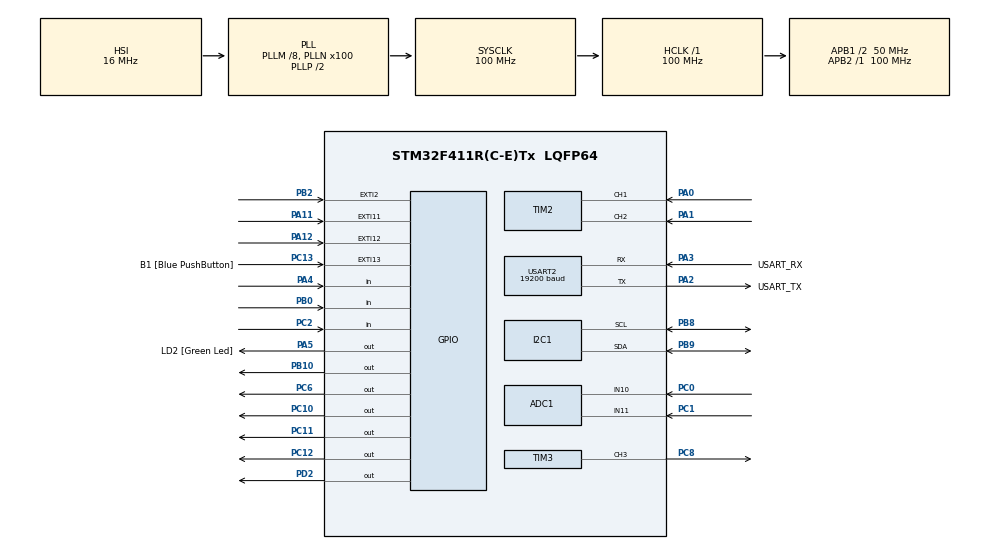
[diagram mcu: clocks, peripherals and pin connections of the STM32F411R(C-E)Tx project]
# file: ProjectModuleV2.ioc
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ADC1.Channel-0\#ChannelRegularConversion=ADC_CHANNEL_10
ADC1.Channel-1\#ChannelRegularConversion=ADC_CHANNEL_11
ADC1.ContinuousConvMode=ENABLE
ADC1.DMAContinuousRequests=ENABLE
ADC1.NbrOfConversion=2
ADC1.NbrOfConversionFlag=1
ADC1.Rank-0\#ChannelRegularConversion=1
ADC1.Rank-1\#ChannelRegularConversion=2
ADC1.SamplingTime-0\#ChannelRegularConversion=ADC_SAMPLETIME_144CYCLES
ADC1.SamplingTime-1\#ChannelRegularConversion=ADC_SAMPLETIME_144CYCLES
ADC1.ScanConvMode=ENABLE
ADC1.master=1
Dma.ADC1.1.Direction=DMA_PERIPH_TO_MEMORY
Dma.ADC1.1.FIFOMode=DMA_FIFOMODE_DISABLE
Dma.ADC1.1.Instance=DMA2_Stream0
Dma.ADC1.1.MemDataAlignment=DMA_MDATAALIGN_WORD
Dma.ADC1.1.MemInc=DMA_MINC_ENABLE
Dma.ADC1.1.Mode=DMA_CIRCULAR
Dma.ADC1.1.PeriphDataAlignment=DMA_PDATAALIGN_WORD
Dma.ADC1.1.PeriphInc=DMA_PINC_DISABLE
Dma.ADC1.1.Priority=DMA_PRIORITY_LOW
Dma.Request0=USART2_TX
Dma.Request1=ADC1
Dma.USART2_TX.0.Direction=DMA_MEMORY_TO_PERIPH
Dma.USART2_TX.0.FIFOMode=DMA_FIFOMODE_DISABLE
Dma.USART2_TX.0.Instance=DMA1_Stream6
Dma.USART2_TX.0.MemDataAlignment=DMA_MDATAALIGN_BYTE
Dma.USART2_TX.0.MemInc=DMA_MINC_ENABLE
Dma.USART2_TX.0.Mode=DMA_NORMAL
Dma.USART2_TX.0.PeriphDataAlignment=DMA_PDATAALIGN_BYTE
Dma.USART2_TX.0.PeriphInc=DMA_PINC_DISABLE
Dma.USART2_TX.0.Priority=DMA_PRIORITY_LOW
I2C1.I2C_Mode=I2C_Standard
Mcu.Family=STM32F4
Mcu.Name=STM32F411R(C-E)Tx
Mcu.Package=LQFP64
NVIC.DMA1_Stream6_IRQn=true\:0\:0\:false\:false\:true\:false\:true\:true
NVIC.DMA2_Stream0_IRQn=true\:0\:0\:false\:false\:true\:false\:true\:true
NVIC.EXTI15_10_IRQn=true\:0\:0\:false\:false\:true\:true\:true\:true
NVIC.EXTI2_IRQn=true\:0\:0\:false\:false\:true\:true\:true\:true
NVIC.I2C1_ER_IRQn=true\:0\:0\:false\:false\:true\:true\:true\:true
NVIC.I2C1_EV_IRQn=true\:0\:0\:false\:false\:true\:true\:true\:true
NVIC.PriorityGroup=NVIC_PRIORITYGROUP_0
NVIC.TIM1_TRG_COM_TIM11_IRQn=true\:0\:0\:false\:false\:true\:true\:true\:true
NVIC.TIM2_IRQn=true\:0\:0\:false\:false\:true\:true\:true\:true
NVIC.TIM3_IRQn=true\:0\:0\:false\:false\:true\:true\:true\:true
NVIC.TIM4_IRQn=true\:0\:1\:false\:false\:true\:true\:true\:true
NVIC.USART2_IRQn=true\:0\:0\:false\:false\:true\:true\:true\:true
PA0-WKUP.Signal=S_TIM2_CH1_ETR
PA1.Signal=S_TIM2_CH2
PA11.Signal=GPXTI11
PA12.Signal=GPXTI12
PA13.GPIO_Label=TMS
PA13.Mode=Serial_Wire
PA13.Signal=SYS_JTMS-SWDIO
PA14.GPIO_Label=TCK
PA14.Mode=Serial_Wire
PA14.Signal=SYS_JTCK-SWCLK
PA2.GPIO_Label=USART_TX
PA2.Mode=Asynchronous
PA2.Signal=USART2_TX
PA3.GPIO_Label=USART_RX
PA3.Mode=Asynchronous
PA3.Signal=USART2_RX
PA4.Signal=GPIO_Input
PA5.GPIO_Label=LD2 [Green Led]
PA5.Signal=GPIO_Output
PB0.Signal=GPIO_Input
PB10.Signal=GPIO_Output
PB2.GPIO_ModeDefaultEXTI=GPIO_MODE_IT_RISING_FALLING
PB2.Signal=GPXTI2
PB3.GPIO_Label=SWO
PB3.Signal=SYS_JTDO-SWO
PB8.Mode=I2C
PB8.Signal=I2C1_SCL
PB9.Mode=I2C
PB9.Signal=I2C1_SDA
PC0.Signal=ADCx_IN10
PC1.Signal=ADCx_IN11
PC10.Signal=GPIO_Output
PC11.Signal=GPIO_Output
PC12.Signal=GPIO_Output
PC13-ANTI_TAMP.GPIO_Label=B1 [Blue PushButton]
PC13-ANTI_TAMP.GPIO_ModeDefaultEXTI=GPIO_MODE_IT_FALLING
PC13-ANTI_TAMP.Signal=GPXTI13
PC14-OSC32_IN.Mode=LSE-External-Oscillator
PC14-OSC32_IN.Signal=RCC_OSC32_IN
PC15-OSC32_OUT.Mode=LSE-External-Oscillator
PC15-OSC32_OUT.Signal=RCC_OSC32_OUT
PC2.Signal=GPIO_Input
PC6.Signal=GPIO_Output
PC8.Signal=S_TIM3_CH3
PD2.Signal=GPIO_Output
PH0\ -\ OSC_IN.Mode=HSE-External-Clock-Source
PH0\ -\ OSC_IN.Signal=RCC_OSC_IN
PH1\ -\ OSC_OUT.Mode=HSE-External-Clock-Source
PH1\ -\ OSC_OUT.Signal=RCC_OSC_OUT
ProjectManager.HeapSize=0x200
ProjectManager.StackSize=0x400
ProjectManager.TargetToolchain=STM32CubeIDE
RCC.48MHZClocksFreq_Value=50000000
RCC.AHBFreq_Value=100000000
RCC.APB1CLKDivider=RCC_HCLK_DIV2
RCC.APB1Freq_Value=50000000
RCC.APB1TimFreq_Value=100000000
RCC.APB2Freq_Value=100000000
RCC.APB2TimFreq_Value=100000000
RCC.CortexFreq_Value=100000000
RCC.FLatency-AdvancedSettings=FLASH_LATENCY_3
RCC.HCLKFreq_Value=100000000
RCC.HSE_VALUE=8000000
RCC.HSI_VALUE=16000000
RCC.PLLM=8
RCC.PLLN=100
RCC.SYSCLKFreq_VALUE=100000000
RCC.SYSCLKSource=RCC_SYSCLKSOURCE_PLLCLK
RCC.VCOOutputFreq_Value=200000000
SH.ADCx_IN10.0=ADC1_IN10,IN10
SH.ADCx_IN11.0=ADC1_IN11,IN11
SH.S_TIM2_CH1_ETR.0=TIM2_CH1,Encoder_Interface
SH.S_TIM2_CH2.0=TIM2_CH2,Encoder_Interface
SH.S_TIM3_CH3.0=TIM3_CH3,PWM Generation3 CH3
TIM11.Channel=TIM_CHANNEL_1
TIM11.OCMode_1=TIM_OCMODE_ACTIVE
TIM11.Period=2005
TIM11.Prescaler=99
TIM11.Pulse=1433
TIM2.EncoderMode=TIM_ENCODERMODE_TI12
TIM3.Channel-PWM\ Generation3\ CH3=TIM_CHANNEL_3
TIM3.Period=49999
TIM4.Period=399
TIM4.Prescaler=99
TIM5.Prescaler=83
USART2.BaudRate=19200
USART2.Parity=PARITY_EVEN
USART2.VirtualMode=VM_ASYNC
USART2.WordLength=WORDLENGTH_9B
VP_TIM11_VS_ClockSourceINT.Mode=Enable_Timer
VP_TIM11_VS_OPM.Mode=OPM_bit
VP_TIM11_VS_no_output1.Mode=Output Compare1 No Output
VP_TIM3_VS_ClockSourceINT.Mode=Internal
VP_TIM4_VS_ClockSourceINT.Mode=Internal
VP_TIM5_VS_ClockSourceINT.Mode=Internal
board=NUCLEO-F411RE

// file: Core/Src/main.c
/* USER CODE BEGIN Header */
/**
  ******************************************************************************
  * @file           : main.c
  * @brief          : Main program body
  ******************************************************************************
  * @attention
  *
  * Copyright (c) 2023 STMicroelectronics.
  * All rights reserved.
  *
  * This software is licensed under terms that can be found in the LICENSE file
  * in the root directory of this software component.
  * If no LICENSE file comes with this software, it is provided AS-IS.
  *
  ******************************************************************************
  */
/* USER CODE END Header */
#include "main.h"
#include "adc.h"
#include "dma.h"
#include "i2c.h"
#include "tim.h"
#include "usart.h"
#include "gpio.h"

/* USER CODE BEGIN Includes */
#include "arm_math.h"
#include <stdlib.h>
#include "ReadEncoderV2.h"
#include "QuinticTrajectory.h"
#include "PIDController.h"
#include "KalmanFilterV2.h"
#include "TrayLocalization.h"
#include "Storage.h"
#include "JoyStick.h"
#include "ModBusRTU.h"
#include "Endeffector.h"
//#include "Interrupt.h"
/* USER CODE END Includes */

/* USER CODE BEGIN PV */
//Operation
OperationState OpState = Init;
OperationVar OpVar = {0};
//Read Encoder
ReadEncoder ReadEncoderParam;
QEI QEIData;
//Quintic Trajectory
QuinticTraj QuinticVar;
float32_t vmax =  163840;	//pps  80%(1200 rpm)
float32_t  amax = 204800;	//pps^2  1500
//int32_t dummyPickpoints[3] = {6827,7851,8875};
//int32_t dummyPlacepoints[3] = {34133,35157,36181};
//PID
PID PositionLoop;
PID VelocityLoop;
//Kalman Filter
Kalman KF;
float32_t Var_Q = 0.798*0.05;	//Measurment Noise
float32_t Var_R = 0.0798*0.1;	//Process Noise
arm_matrix_instance_f32 mat_A, mat_x_hat, mat_x_hat_minus, mat_B, mat_u,eye;
arm_matrix_instance_f32 mat_P, mat_P_minus, mat_Q, mat_GT, mat_G;
arm_matrix_instance_f32 mat_C, mat_R, mat_S, mat_K;
arm_matrix_instance_f32 mat_temp3x3A,mat_temp3x3B, mat_temp3x1,mat_temp1x3, mat_temp1x1;
float32_t ZEstimateVelocity; //For display
//Tray
Tray PickTray;
Tray PlaceTray;
//ModBus
ModbusHandleTypedef hmodbus;
u16u8_t registerFrame[200];
//JoyStick
JoyState SubState = TrayP1;
int32_t TrayPoint[8];
//EndEff
uint8_t PreState = 0;
uint32_t Delay = 0;

/* USER CODE END PV */

void SystemClock_Config(void);
/* USER CODE BEGIN PFP */
void joyXjog();
void joyYjog();
void CollectPosition();
void EndeffectorCheck();
int16_t Uint2Int(uint16_t underflow);
void PickPlace();
/* USER CODE END PFP */

int main(void)
{

  /* MCU Configuration--------------------------------------------------------*/

  /* Reset of all peripherals, Initializes the Flash interface and the Systick. */
  HAL_Init();

  /* Configure the system clock */
  SystemClock_Config();

  /* Initialize all configured peripherals */
  MX_GPIO_Init();
  MX_DMA_Init();
  MX_USART2_UART_Init();
  MX_TIM2_Init();
  MX_TIM5_Init();
  MX_TIM3_Init();
  MX_I2C1_Init();
  MX_TIM4_Init();
  MX_TIM11_Init();
  MX_ADC1_Init();
  /* USER CODE BEGIN 2 */
  //Setup Initial vaules
  InitKalmanStruct(&KF,Var_Q,Var_R);

  InitReadEncoder(&ReadEncoderParam, 1000);

  QuinticSetup(&QuinticVar, vmax, amax);

  PIDSetup(&PositionLoop, 15, 2.5, 0.00001, 10);
  PIDSetup(&VelocityLoop, 5.0, 0.00000001, 0, 0.00003);

  //Timers Start
  HAL_TIM_Base_Start_IT(&htim4);
  HAL_TIM_Encoder_Start(&htim2, TIM_CHANNEL_1|TIM_CHANNEL_2);  //Start QEI
  HAL_TIM_PWM_Start(&htim3, TIM_CHANNEL_3);//Start PWM
  HAL_TIM_Base_Start_IT(&htim5);

  hmodbus.huart = &huart2;
  hmodbus.htim = &htim11;
  hmodbus.slaveAddress = 0x15;
  hmodbus.RegisterSize = 200;
  Modbus_init(&hmodbus, registerFrame);

  HAL_ADC_Start_DMA(&hadc1, VR, 2); // Start ADC

//	//EndEff
	testState = SoftReset;
	Stamp = 1;
	TestMode();

  /* USER CODE END 2 */
  /* Infinite loop */
  while (1)
  {

    /* USER CODE BEGIN 3 */
	Modbus_Protocal_Worker();
	static uint32_t timestamp =0;
	static uint32_t Modbustimestamp = 0;
	if((KF.x_hat[1] >= 1000) || (KF.x_hat[1] <= -1000))
	{
		HAL_GPIO_WritePin(GPIOC, GPIO_PIN_12, SET);
	}
	else
	{
		HAL_GPIO_WritePin(GPIOC, GPIO_PIN_12, RESET);
	}

	if (HAL_GetTick() >= Modbustimestamp)
	{
	  Modbustimestamp = HAL_GetTick() + 200;
	  registerFrame[0x00].U16 = 0b0101100101100001;
	  //Update y axis position to basesystem
	  registerFrame[0x11].U16 = ((((QEIData.QEIPosition-OpVar.HomePosOffset) * 120) / 8192 ) + 1) * 10;
	  registerFrame[0x12].U16 = (KF.x_hat[1] * 120/8192) * 10;
	  registerFrame[0x13].U16 =	((KF.x_hat[1] - KF.x_hat_minus[1])* 120/8192) * 2500 * 10;
		static uint32_t Tray_Delay = 0; // Tray delay counter
		//Set Pick Tray
		if(registerFrame[0x01].U16 == 1)
		{
			if(registerFrame[0x02].U16 == 1){
					testState = TestOn;
					Stamp = 1;
					TestMode();
		}
		registerFrame[0x10].U16 = 1; //Jog of Pick Tray
		if(TrayPoint[3] != 0) // Y of Right edge have value of Pick tray
		{
			//For use
			TraySetup(&PickTray,TrayPoint[0]/10.0, TrayPoint[1], TrayPoint[2]/10.0, TrayPoint[3]); //Input value to calculate

			//For test
//				TraySetup(&PickTray,700/10.0, 19084, 1128/10.0, 17380);

			TrayLocalization(&PickTray); //Find 9 Holes of Pick Tray
			registerFrame[0x20].U16 = PickTray.ForBaseOriginX; //Upload X Pick
			registerFrame[0x21].U16 = PickTray.ForBaseOriginY; //Upload Y Pick
			registerFrame[0x22].U16 = PickTray.ForBaseOrientation; //Upload Angle Pick
			registerFrame[0x10].U16 = 0; //Finish Command
			registerFrame[0x01].U16 = 0; //Finish Command
		}

			/*OpVar.Tray_SetTo = 1;
			Tray_Delay = HAL_GetTick() + 350; // Add delay
			registerFrame[0x10].U16 = 1; //Jog Pick Set
			//registerFrame[0x10].U16 = 0; //Jog Pick Reset*/
		}
		//Set Place Tray
		if(registerFrame[0x01].U16 == 2)
		{
			registerFrame[0x10].U16 = 2; //Jog of Place Tray
			if(TrayPoint[7] != 0){ // Y of Right edge have value of Place tray
				//For use
				TraySetup(&PlaceTray,TrayPoint[4]/10.0, TrayPoint[5], TrayPoint[6]/10.0, TrayPoint[7]);
				//For test
//				TraySetup(&PlaceTray,-1083/10.0, 31685, -1369/10.0, 29007);
				TrayLocalization(&PlaceTray);
				registerFrame[0x23].U16 = PlaceTray.ForBaseOriginX; //Upload X Place
				registerFrame[0x24].U16 = PlaceTray.ForBaseOriginY; //Upload Y Place
				registerFrame[0x25].U16 = PlaceTray.ForBaseOrientation; //Upload Angle Place
				registerFrame[0x10].U16 = 0; //Finish Command
				registerFrame[0x01].U16 = 0; //Finish Command
				//Reset Tray Point
				SubState = TrayP1;
				OpVar.Tray_SetTo = 0;
				for (uint8_t i = 0; i <= 7; i++)
				{
					TrayPoint[i] = 0;
				}
				//turn off laser
				if(registerFrame[0x02].U16 == 0){
					testState = TestOff;
					Stamp = 1;
					TestMode();
				}
			}
			/*OpVar.Tray_SetTo = 1;
			Tray_Delay = HAL_GetTick() + 350; // Add delay
			registerFrame[0x10].U16 = 2; //Jog Place Set
			//registerFrame[0x10].U16 = 0; //Jog Place Reset*/
		}
		//Delay for Jog
		if (HAL_GetTick() >= Tray_Delay && OpVar.Tray_SetTo != 0){
			Tray_Delay = HAL_GetTick() + 350; // Add delay
			registerFrame[0x10].U16 = 0;
			OpVar.Tray_SetTo = 0;
		}
	}
	if(OpVar.ProxStop == 0)
	{
		switch(OpState)
			{
			case Init:
				OpVar.ControllerEnable = 0;
				OpVar.JoyEnable = 0;
				PositionLoop.IsSteady = 0;
				for (uint8_t i = 0; i <= 7; i++)
				{
					TrayPoint[i] = 0;
				}
				OpVar.SetPointY_Axis = 0;
				HAL_GPIO_WritePin(GPIOC, GPIO_PIN_10, RESET);
				SetHome(&OpVar);
			break;
			case PreHoming:
				__HAL_TIM_SET_COMPARE(&htim3,TIM_CHANNEL_3,0);
				OpVar.ControllerEnable = 1;
				QuinticVar.current_velo = 0;
				OpVar.HomingKey = 0;
				if(HAL_GetTick() >= OpVar.waitTime)
				{
					OpVar.waitTime = 0;
					InitKalmanStruct(&KF,Var_Q,Var_R);
					PIDSetup(&PositionLoop, 15, 2.2, 0.00001, 10);
					PIDSetup(&VelocityLoop, 5.0, 0.00000001, 0, 0.00003);

					QuinticVar.start_pos = __HAL_TIM_GET_COUNTER(&htim2);
					QuinticVar.final_pos = OpVar.MaxWorkspace*0.5 - 5;
					OpVar.HomingKey = 0;	//Turn off Proximety
					OpState = Homing;
				}
				else
				{
					__HAL_TIM_SET_COMPARE(&htim3,TIM_CHANNEL_3,0);
				}
			break;
			case Homing:
					OpVar.ControllerEnable = 1;
					if(PositionLoop.IsSteady == 1)
					{
						OpVar.HomingKey = 0;
						OpState = Buffer;
						OpVar.waitTime = HAL_GetTick() + 1000;
					}
			break;
			case Buffer:
				if(HAL_GetTick() >= OpVar.waitTime)
				{
					if(OpVar.RunTrayMode == 1)
					{
						OpState = PreProcess;
						OpVar.RunTrayMode = 0;
					}
					else if(OpVar.RunTrayMode == 0)
					{
						OpState = Home_Ok;
						registerFrame[0x10].U16 = 0;
						OpVar.ControllerEnable = 0;
					}
				}
				break;
			case Home_Ok:
				HAL_GPIO_WritePin(GPIOD, GPIO_PIN_2, RESET);  // turn off point mode pilot lamp
				HAL_GPIO_WritePin(GPIOC, GPIO_PIN_11, RESET); // turn off tray mode pilot lamp

				if(registerFrame[0x10].U16 == 32){
					registerFrame[0x10].U16 = 0;
				}
				OpVar.ControllerEnable = 0;	//Disable Controller
				OpVar.JoyEnable = 1;
				if(registerFrame[0x44].U16 == 0)
				{
					registerFrame[0x40].U16 = 0b0000;	//ResetState
				}
				if(HAL_GetTick() >= timestamp)
				{
					timestamp = HAL_GetTick() + 10;

					//JoyStick
					HAL_GPIO_WritePin(GPIOC, GPIO_PIN_10, SET);	//Open Joy Pilot lamp

					//set home from UI
					if(registerFrame[0x01].U16 == 4)
					{
						registerFrame[0x10].U16 = 4;
						registerFrame[0x40].U16 = 1; //sethome x axis
						OpState = Init;

						registerFrame[0x01].U16 = 0; //reset state
					}

					//PointMode from UI After press RUN
					if(registerFrame[0x01].U16 == 16)
					{
						registerFrame[0x10].U16 = 32;	//Update Y axis Status(Gopoint)
					   //start run status of x axis
						RunX_Axis(registerFrame[0x30].U16, 2500, 2);
						//(Code here)    //assign goal point y to trajectory y axis and PID
						OpVar.SetPointY_Axis = (Uint2Int(registerFrame[0x31].U16)*8192/(120*10)) + OpVar.HomePosOffset;
						OpVar.BaseMode = 1;
						OpState = PreProcess;
					}

					//TrayMode from UI After press RUN
					if(registerFrame[0x01].U16 == 8)
					{
						testState = GripOn;
						Stamp = 1;
						TestMode();
						OpVar.BaseMode = 0;
						OpState = Init;
						OpVar.RunTrayMode = 1;

					}

					//endeffector
					EndeffectorCheck();
				}
			break;

			case PointMode:

				//OpVar.ControllerEnable = 0;
			break;

			case TrayMode:
				//OpVar.ControllerEnable = 0;
			break;

			case PreProcess:
				OpVar.ControllerEnable = 0;
				HAL_GPIO_WritePin(GPIOC, GPIO_PIN_10, RESET);
				if(OpVar.BaseMode == 0)	//TrayMode
				{
					QuinticVar.final_pos = PickTray.Holes_Y[0];
					RunX_Axis(PickTray.Holes_X[0]*10, 2500, 3);
					OpVar.task = GoPick;	//current task.
					OpVar.holeInd = 0;
					PositionLoop.IsSteady = 0;
					OpState = ControlLoop;
				}
				else if (OpVar.BaseMode == 1)	//PointMode
				{
					HAL_GPIO_WritePin(GPIOD, GPIO_PIN_2, SET);
					QuinticVar.final_pos = OpVar.SetPointY_Axis; //Point from Basesystem
					PositionLoop.IsSteady = 0;
					OpState = ControlLoop;

				}
			break;

			case ControlLoop:
				OpVar.ControllerEnable = 1;
				OpVar.JoyEnable = 0;
				OpVar.HomingKey = 2;
				if(PositionLoop.IsSteady == 1)
				{
					float32_t refX_Axis;
					if(OpVar.BaseMode == 0)
					{
						switch(OpVar.task)
						{
						case GoPick:
							refX_Axis = PickTray.Holes_X[OpVar.holeInd] * 10;
							break;
						case GoPlace:
							refX_Axis = PlaceTray.Holes_X[OpVar.holeInd] * 10;
							break;
						}
					}
					else if (OpVar.BaseMode == 1)
					{
						refX_Axis = Uint2Int(registerFrame[0x30].U16);
					}
					if(abs(Uint2Int(registerFrame[0x44].U16) - refX_Axis) <= 0.1)
					{
						if(OpVar.BaseMode == 0)	//Tray
						{
							PickPlace();
							OpVar.waitTime = HAL_GetTick() + 2000;
							OpState = GripperWaiting;
						}
						else if (OpVar.BaseMode == 1)	//Point
						{
							OpState = Home_Ok;
							registerFrame[0x01].U16 = 0;

						}
					}
				}
			break;

			case GripperWaiting:
				OpVar.ControllerEnable = 1;
				if( HAL_GetTick() >= OpVar.waitTime)
				{
					OpVar.waitTime = 0;
					switch(OpVar.task)
					{
					case GoPick:	//Next point should be PLACE hole
						QuinticVar.final_pos = PlaceTray.Holes_Y[OpVar.holeInd];
						RunX_Axis(PlaceTray.Holes_X[OpVar.holeInd]*10, 2500, 3);
						OpVar.task = GoPlace;
						OpState = ControlLoop;
					break;
					case GoPlace:	//Next point should be PICK hole
						if(OpVar.holeInd >= 8)
						{
							OpState = Init;
							registerFrame[0x40].U16 = 0b0001;	//Home
							OpVar.ControllerEnable = 0;
							OpVar.RunTrayMode = 0;
							registerFrame[0x01].U16 = 0;

						}
						else
						{
							OpVar.holeInd += 1;
							QuinticVar.final_pos = PickTray.Holes_Y[OpVar.holeInd];
							RunX_Axis(PickTray.Holes_X[OpVar.holeInd]*10, 2500, 3);
							OpVar.task = GoPick;
							OpState = ControlLoop;
						}
					break;
					}
				}
			break;

			case WaitingHome:
				OpVar.ControllerEnable = 0;
				OpVar.HomingKey = 1;
				OpState = WaitingHome;
				HAL_GPIO_WritePin(GPIOC, GPIO_PIN_6, 0);
				__HAL_TIM_SET_COMPARE(&htim3,TIM_CHANNEL_3,30*500);
			break;
			case EmergencyStop:
				OpVar.ControllerEnable = 0;
				OpVar.JoyEnable = 0;
				 __HAL_TIM_SET_COMPARE(&htim3,TIM_CHANNEL_3,0);
				 if(OpVar.EmerPress == 0)
				 {
					 testState = EmerExit;
					 Stamp = 1;
					 TestMode();
					 OpState = Init;
				 }
			break;
		}
	}
	  else if (OpVar.ProxStop == 1)
	  {
		  __HAL_TIM_SET_COMPARE(&htim3,TIM_CHANNEL_3,0);
	  }
}

  /* USER CODE END 3 */
}

void SystemClock_Config(void)
{
  RCC_OscInitTypeDef RCC_OscInitStruct = {0};
  RCC_ClkInitTypeDef RCC_ClkInitStruct = {0};

  /** Configure the main internal regulator output voltage
  */
  __HAL_RCC_PWR_CLK_ENABLE();
  __HAL_PWR_VOLTAGESCALING_CONFIG(PWR_REGULATOR_VOLTAGE_SCALE1);

  /** Initializes the RCC Oscillators according to the specified parameters
  * in the RCC_OscInitTypeDef structure.
  */
  RCC_OscInitStruct.OscillatorType = RCC_OSCILLATORTYPE_HSI;
  RCC_OscInitStruct.HSIState = RCC_HSI_ON;
  RCC_OscInitStruct.HSICalibrationValue = RCC_HSICALIBRATION_DEFAULT;
  RCC_OscInitStruct.PLL.PLLState = RCC_PLL_ON;
  RCC_OscInitStruct.PLL.PLLSource = RCC_PLLSOURCE_HSI;
  RCC_OscInitStruct.PLL.PLLM = 8;
  RCC_OscInitStruct.PLL.PLLN = 100;
  RCC_OscInitStruct.PLL.PLLP = RCC_PLLP_DIV2;
  RCC_OscInitStruct.PLL.PLLQ = 4;
  if (HAL_RCC_OscConfig(&RCC_OscInitStruct) != HAL_OK)
  {
    Error_Handler();
  }

  /** Initializes the CPU, AHB and APB buses clocks
  */
  RCC_ClkInitStruct.ClockType = RCC_CLOCKTYPE_HCLK|RCC_CLOCKTYPE_SYSCLK
                              |RCC_CLOCKTYPE_PCLK1|RCC_CLOCKTYPE_PCLK2;
  RCC_ClkInitStruct.SYSCLKSource = RCC_SYSCLKSOURCE_PLLCLK;
  RCC_ClkInitStruct.AHBCLKDivider = RCC_SYSCLK_DIV1;
  RCC_ClkInitStruct.APB1CLKDivider = RCC_HCLK_DIV2;
  RCC_ClkInitStruct.APB2CLKDivider = RCC_HCLK_DIV1;

  if (HAL_RCC_ClockConfig(&RCC_ClkInitStruct, FLASH_LATENCY_3) != HAL_OK)
  {
    Error_Handler();
  }
}

/* USER CODE BEGIN 4 */
void HAL_GPIO_EXTI_Callback(uint16_t GPIO_Pin)
{
		if (GPIO_Pin == GPIO_PIN_2) //Emergency Switch
		{
			OpVar.countExt ++;
		}
		if(GPIO_Pin == GPIO_PIN_11)
		{
			if(OpVar.HomingKey == 1)
			{
				__HAL_TIM_SET_COMPARE(&htim3,TIM_CHANNEL_3,0);
				__HAL_TIM_SET_COUNTER(&htim2,0);
				QEIData.QEIPosition = __HAL_TIM_GET_COUNTER(&htim2);
				OpVar.ProxStop = 0;
				HAL_GPIO_WritePin(GPIOC, GPIO_PIN_6, 0);
				__HAL_TIM_SET_COMPARE(&htim3,TIM_CHANNEL_3,30*500);
				OpState = WaitingHome;
			}
			else if(OpVar.HomingKey == 2)
			{
				__HAL_TIM_SET_COMPARE(&htim3,TIM_CHANNEL_3,0);
				OpVar.ProxStop = 1;
			}
		}
		if (GPIO_Pin == GPIO_PIN_12)
		{
			if(OpVar.HomingKey == 1)
			{
				__HAL_TIM_SET_COMPARE(&htim3,TIM_CHANNEL_3,0);
				OpVar.HomingKey = 0;		//Disable Proximity Homing
				OpVar.ProxStop = 0;
				if(OpState == WaitingHome)
				{
					OpVar.waitTime = HAL_GetTick() + 1000;
					QuinticVar.current_pos = __HAL_TIM_GET_COUNTER(&htim2);	//Dummy PID
					HAL_GPIO_WritePin(GPIOC, GPIO_PIN_6, 1);
					__HAL_TIM_SET_COMPARE(&htim3,TIM_CHANNEL_3, 50*500);
					OpState = PreHoming;
					OpVar.MaxWorkspace = __HAL_TIM_GET_COUNTER(&htim2);
					OpVar.HomePosOffset = __HAL_TIM_GET_COUNTER(&htim2) * 0.5;
					OpVar.ControllerEnable = 1;	//Enable Controller
					__HAL_TIM_SET_COMPARE(&htim3,TIM_CHANNEL_3, 0);
				}
			}
			else if(OpVar.HomingKey == 2)
			{
				__HAL_TIM_SET_COMPARE(&htim3,TIM_CHANNEL_3,0);
				OpVar.ProxStop = 1;
			}
		}
}
void HAL_TIM_PeriodElapsedCallback(TIM_HandleTypeDef *htim)
{
	if(htim == &htim4)
	{
		//Read FeedBack
		QEIGetFeedback(&QEIData, 2500);
		KF.z = QEIData.QEIVelocity;
		kalman_filter();
		ZEstimateVelocity = KF.x_hat[1];
		OpVar.CurrentY_Position = QEIData.QEIPosition*120/8192;
		OpVar.CurrentY_Velocity = ZEstimateVelocity*120/8192;
		OpVar.CurrentY_Accelleration = ((KF.x_hat[1] - KF.x_hat_minus[1])* 120/8192) * 2500;
		//Emergency Check
		static uint32_t EmrTimestamp = 0;
		if(HAL_GetTick() >= EmrTimestamp)
		{
			EmrTimestamp = HAL_GetTick() + 10;
			if((OpVar.countExt - OpVar.PreCountExt) == 1)
			{
				OpVar.EmerPress = 0;
				OpVar.PreCountExt = OpVar.countExt;
			}
			else if((OpVar.countExt - OpVar.PreCountExt) == 0)
			{
				OpVar.EmerPress = OpVar.EmerPress;
				OpVar.PreCountExt = OpVar.countExt;
			}
			else
			{
				OpVar.EmerPress = 1;
				OpVar.PreCountExt = OpVar.countExt;
				OpState = EmergencyStop;
				testState = EmerTrig;
				Stamp = 1;
				TestMode();

			}
		}
		//Cascade Controller
		if(OpVar.ControllerEnable == 1)
		{
			QuinticRun(&QuinticVar,PositionLoop.ESS,0.0004);
			CascadeLoop(&PositionLoop, &VelocityLoop, QEIData.QEIPosition, KF.x_hat[1],&QuinticVar, 3);
			__HAL_TIM_SET_COMPARE(&htim3,TIM_CHANNEL_3,abs(VelocityLoop.U));
			HAL_GPIO_WritePin(GPIOC, GPIO_PIN_6, VelocityLoop.MotorDir);
		}
		//JoyStick
		if(OpVar.JoyEnable == 1)
		{
			CheckJoystick();
			CheckButton();
			//joyXjog();
			joyYjog();
			CollectPosition();
		}
	}
}
void joyXjog() {

	if(enableX){
		if (Joy.X == 1) {
			registerFrame[0x40].U16 = 0x0008;
		} else if (Joy.X == -1) {
			registerFrame[0x40].U16 = 0x0004;
		} else if (Joy.X == 0) {
			registerFrame[0x40].U16 = 0x0000;
		}
	}
}

void joyYjog() {

	static uint8_t toggleX = 0;
	switch(StateSpeed){
	case 0:
		speed = 30;
		break;
	case 1:
		speed = 60;
		break;
	case 2:
		speed = 90;
		toggleX = 0;
		break;
	case 3:
		if(enableX == 1 && toggleX == 0){
			enableX = 0;
			toggleX = 1;
		}
		else if(enableX == 0 && toggleX == 0){
			enableX = 1;
			toggleX = 1;
		}
		break;
	}

	if (Joy.Y == 1) {
		HAL_GPIO_WritePin(GPIOC, GPIO_PIN_6, RESET);
		__HAL_TIM_SET_COMPARE(&htim3, TIM_CHANNEL_3, speed * 500);
	} else if (Joy.Y == -1) {
		HAL_GPIO_WritePin(GPIOC, GPIO_PIN_6, SET);
		__HAL_TIM_SET_COMPARE(&htim3, TIM_CHANNEL_3, speed * 500);
	} else if (Joy.Y == 0) {

		__HAL_TIM_SET_COMPARE(&htim3, TIM_CHANNEL_3, 0);
	}

}
void CollectPosition() {

	CheckButton();
	CheckJoystick();
	joyXjog();
	joyYjog();

	static uint8_t PreReset = 0;
	if (PreReset == 0 && Joy.status == 3) {
		SubState = TrayP1;
		for (uint8_t i = 0; i <= 7; i++) {
			TrayPoint[i] = 0;
		}
	}

	static uint8_t PreSpeed = 0;
	if(Joy.status == 1 && PreSpeed == 0){
		StateSpeed = (StateSpeed + 1 ) % 4 ;
	}

	static uint8_t PreRec = 0;

	switch (SubState) {
	case TrayP1:

		if (Joy.status == 2 && PreRec == 0) {
			SubState = TrayP2;
			TrayPoint[0] = Uint2Int(registerFrame[0x44].U16);
			TrayPoint[1] = __HAL_TIM_GET_COUNTER(&htim2);
		}
		break;
	case TrayP2:

		if (Joy.status == 2 && PreRec == 0) {
			SubState = TrayP3;
			TrayPoint[2] = Uint2Int(registerFrame[0x44].U16);
			TrayPoint[3] = __HAL_TIM_GET_COUNTER(&htim2);
		}
		break;
	case TrayP3:

		if (Joy.status == 2 && PreRec == 0) {
			SubState = TrayP4;
			TrayPoint[4] = Uint2Int(registerFrame[0x44].U16);
			TrayPoint[5] = __HAL_TIM_GET_COUNTER(&htim2);
		}
		break;
	case TrayP4:

		if (Joy.status == 2 && PreRec == 0) {
			TrayPoint[6] = Uint2Int(registerFrame[0x44].U16);
			TrayPoint[7] = __HAL_TIM_GET_COUNTER(&htim2);
		} else if (HAL_GPIO_ReadPin(GPIOC, GPIO_PIN_13) == 0) {
			SubState = TrayP1;
		}
		break;

	}

	PreSpeed = Joy.status;
	PreReset = Joy.status;
	PreRec = Joy.status;
}

int16_t Uint2Int(uint16_t underflow)
{
    uint16_t integer = 0;
    int16_t bitwise = 0;

    if (underflow > 40000) {
        integer = (uint16_t) (UINT16_MAX - underflow + 1);
        bitwise = ~integer;
    } else {
        bitwise = underflow;
    }
    return bitwise;

}

void EndeffectorCheck(){

	if(registerFrame[0x02].U16 == 1 && PreState != 1){
		testState = TestOn;
		Stamp = 1;
		TestMode();
	}

	else if(registerFrame[0x02].U16 == 0 && PreState == 1){
		testState = TestOff;
		Stamp = 1;
		TestMode();
	}

	else if(registerFrame[0x02].U16 == 2 && PreState != 2){
		testState = GripOn;
		Stamp = 1;
		TestMode();
	}

	else if(registerFrame[0x02].U16 == 0 && PreState == 2){
		testState = GripOff;
		Stamp = 1;
		TestMode();
	}

	else if(registerFrame[0x02].U16 == 6 && PreState != 6){
		testState = PickUp;
		Stamp = 1;
		TestMode();
		Delay = HAL_GetTick() + 2000;
	}

	else if(registerFrame[0x02].U16 == 10 && PreState != 10){
		testState = PlaceDown;
		Stamp = 1;
		TestMode();
		Delay = HAL_GetTick() + 2000;
	}

	if(HAL_GetTick() >= Delay && (registerFrame[0x02].U16 == 6 || registerFrame[0x02].U16 == 10)){
		registerFrame[0x02].U16 = 2;
	}

	PreState = registerFrame[0x02].U16;
}

void PickPlace(){
	static uint8_t PPState = 0;

	switch(PPState){
	case 0:
		testState = PickUp;
		Stamp = 1;
		TestMode();

		PPState = PPState + 1;
		break;
	case 1:
		testState = PlaceDown;
		Stamp = 1;
		TestMode();

		PPState = (PPState + 1) % 2;
		break;
	}
}
/* USER CODE END 4 */

void Error_Handler(void)
{
  __disable_irq();
  while (1)
  {
  }
}
